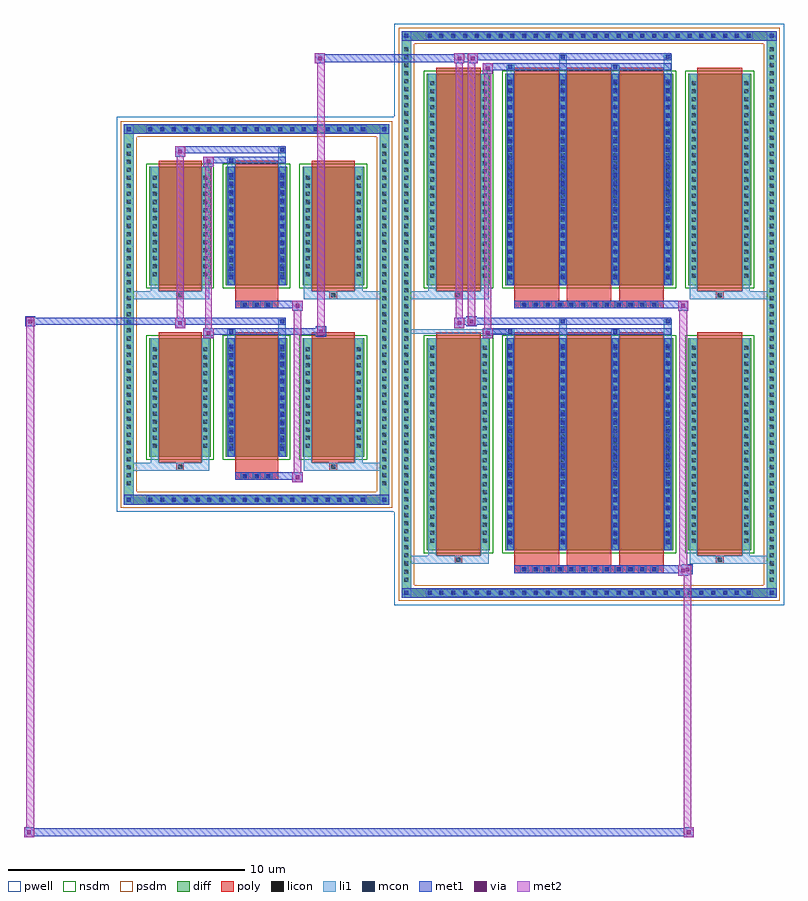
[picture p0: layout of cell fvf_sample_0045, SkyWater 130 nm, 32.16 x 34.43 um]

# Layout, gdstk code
import gdstk
lib = gdstk.Library(unit=1e-6, precision=1e-09)
def R(c, l, rs):  # rectangles x0, y0, x1, y1
    for r in rs: c.add(gdstk.rectangle(r[:2], r[2:], *l))
def A(c, l, x, y, w, h, nx, ny, dx, dy):  # array of equal rectangles
    R(c, l, [(x+i*dx, y+j*dy, x+i*dx+w, y+j*dy+h) for i in range(nx) for j in range(ny)])
def P(c, l, *ps):  # polygons
    for p in ps: c.add(gdstk.Polygon(p, *l))
pwell = (64, 44)
diff = (65, 20)
poly = (66, 20)
licon = (66, 44)
li1 = (67, 20)
mcon = (67, 44)
met1 = (68, 20)
via = (68, 44)
met2 = (69, 20)
nsdm = (93, 44)
psdm = (94, 20)

fvf_sample_0045 = lib.new_cell('fvf_sample_0045')
R(fvf_sample_0045, pwell, [(5.823,-12.301,22.313,12.301), (-5.923,-8.358,5.923,8.358)])
A(fvf_sample_0045, diff, 7.113, -11.991, 0.41, 0.41, 28, 2, 0.5, 23.572)
A(fvf_sample_0045, diff, 6.133, -11.425, 0.41, 0.41, 1, 67, 0, 0.34)
A(fvf_sample_0045, diff, 21.593, -11.425, 0.41, 0.41, 1, 67, 0, 0.34)
A(fvf_sample_0045, diff, -4.705, -8.048, 0.41, 0.41, 19, 2, 0.5, 15.686)
A(fvf_sample_0045, diff, -5.613, -7.345, 0.41, 0.41, 1, 43, 0, 0.34)
A(fvf_sample_0045, diff, 5.203, -7.345, 0.41, 0.41, 1, 43, 0, 0.34)
A(fvf_sample_0045, diff, -4.543, -6.026, 2.602, 5.012, 3, 2, 3.242, 7.256)
R(fvf_sample_0045, diff, [(7.113,-11.991,21.023,-11.581), (6.133,-11.425,6.543,11.425), (21.593,-11.425,22.003,11.425), (7.203,-9.97,9.873,-1.014), (10.513,-9.97,17.623,-1.014), (18.263,-9.97,20.933,-1.014), (-4.705,-8.048,4.705,-7.638), (-5.613,-7.345,-5.203,7.345), (5.203,-7.345,5.613,7.345), (7.203,1.23,9.873,10.186), (10.513,1.23,17.623,10.186), (18.263,1.23,20.933,10.186), (-4.705,7.638,4.705,8.048), (7.113,11.581,21.023,11.991)])
P(fvf_sample_0045, diff, [(5.613,8.048),(-5.613,8.048),(-5.613,-7.638),(-5.203,-7.638),(-5.203,7.638),(5.203,7.638),(5.203,-7.638),(-5.203,-7.638),(-5.613,-7.638),(-5.613,-8.048),(5.613,-8.048)],
  [(22.003,11.991),(6.133,11.991),(6.133,-11.581),(6.543,-11.581),(6.543,11.581),(21.593,11.581),(21.593,-11.581),(6.543,-11.581),(6.133,-11.581),(6.133,-11.991),(22.003,-11.991)])
A(fvf_sample_0045, poly, 11.153, -10.95, 0.33, 0.33, 12, 2, 0.5, 11.2)
A(fvf_sample_0045, poly, 10.903, -10.62, 1.89, 0.4, 3, 2, 2.22, 11.2)
A(fvf_sample_0045, poly, 10.903, -10.22, 1.89, 9.456, 3, 2, 2.22, 11.2)
A(fvf_sample_0045, poly, -0.665, -7.006, 0.33, 0.33, 3, 2, 0.5, 7.256)
A(fvf_sample_0045, poly, -4.153, -6.276, 1.822, 5.512, 3, 2, 3.242, 7.256)
R(fvf_sample_0045, poly, [(10.903,-10.95,17.233,-10.62), (8.373,-10.55,8.703,-10.22), (8.373,-10.55,8.703,-10.22), (19.433,-10.55,19.763,-10.22), (19.433,-10.55,19.763,-10.22), (7.593,-10.22,9.483,-0.764), (18.653,-10.22,20.543,-0.764), (-0.911,-7.006,0.911,-6.676), (-0.911,-6.676,0.911,-6.276), (-3.407,-6.606,-3.077,-6.276), (-3.407,-6.606,-3.077,-6.276), (3.077,-6.606,3.407,-6.276), (3.077,-6.606,3.407,-6.276), (-0.911,0.25,0.911,0.58), (10.903,0.25,17.233,0.58), (-0.911,0.58,0.911,0.98), (-3.407,0.65,-3.077,0.98), (-3.407,0.65,-3.077,0.98), (3.077,0.65,3.407,0.98), (3.077,0.65,3.407,0.98), (8.373,0.65,8.703,0.98), (8.373,0.65,8.703,0.98), (19.433,0.65,19.763,0.98), (19.433,0.65,19.763,0.98), (7.593,0.98,9.483,10.436), (18.653,0.98,20.543,10.436)])
A(fvf_sample_0045, licon, 7.233, -11.871, 0.17, 0.17, 28, 2, 0.5, 23.572)
A(fvf_sample_0045, licon, 6.253, -11.305, 0.17, 0.17, 1, 67, 0, 0.34)
A(fvf_sample_0045, licon, 21.713, -11.305, 0.17, 0.17, 1, 67, 0, 0.34)
A(fvf_sample_0045, licon, 11.233, -10.87, 0.17, 0.17, 12, 2, 0.5, 11.2)
A(fvf_sample_0045, licon, 7.343, -9.657, 0.17, 0.17, 1, 25, 0, 0.34)
A(fvf_sample_0045, licon, 9.563, -9.657, 0.17, 0.17, 1, 25, 0, 0.34)
A(fvf_sample_0045, licon, 10.653, -9.657, 0.17, 0.17, 4, 25, 2.22, 0.34)
A(fvf_sample_0045, licon, 18.403, -9.657, 0.17, 0.17, 1, 25, 0, 0.34)
A(fvf_sample_0045, licon, 20.623, -9.657, 0.17, 0.17, 1, 25, 0, 0.34)
A(fvf_sample_0045, licon, -4.585, -7.928, 0.17, 0.17, 19, 2, 0.5, 15.686)
A(fvf_sample_0045, licon, -5.493, -7.225, 0.17, 0.17, 1, 43, 0, 0.34)
A(fvf_sample_0045, licon, 5.323, -7.225, 0.17, 0.17, 1, 43, 0, 0.34)
A(fvf_sample_0045, licon, -0.585, -6.926, 0.17, 0.17, 3, 2, 0.5, 7.256)
A(fvf_sample_0045, licon, -4.403, -5.645, 0.17, 0.17, 1, 13, 0, 0.34)
A(fvf_sample_0045, licon, -2.251, -5.645, 0.17, 0.17, 1, 13, 0, 0.34)
A(fvf_sample_0045, licon, -1.161, -5.645, 0.17, 0.17, 1, 13, 0, 0.34)
A(fvf_sample_0045, licon, 0.991, -5.645, 0.17, 0.17, 1, 13, 0, 0.34)
A(fvf_sample_0045, licon, 2.081, -5.645, 0.17, 0.17, 1, 13, 0, 0.34)
A(fvf_sample_0045, licon, 4.233, -5.645, 0.17, 0.17, 1, 13, 0, 0.34)
A(fvf_sample_0045, licon, 7.343, 1.543, 0.17, 0.17, 1, 25, 0, 0.34)
A(fvf_sample_0045, licon, 9.563, 1.543, 0.17, 0.17, 1, 25, 0, 0.34)
A(fvf_sample_0045, licon, 10.653, 1.543, 0.17, 0.17, 4, 25, 2.22, 0.34)
A(fvf_sample_0045, licon, 18.403, 1.543, 0.17, 0.17, 1, 25, 0, 0.34)
A(fvf_sample_0045, licon, 20.623, 1.543, 0.17, 0.17, 1, 25, 0, 0.34)
A(fvf_sample_0045, licon, -4.403, 1.611, 0.17, 0.17, 1, 13, 0, 0.34)
A(fvf_sample_0045, licon, -2.251, 1.611, 0.17, 0.17, 1, 13, 0, 0.34)
A(fvf_sample_0045, licon, -1.161, 1.611, 0.17, 0.17, 1, 13, 0, 0.34)
A(fvf_sample_0045, licon, 0.991, 1.611, 0.17, 0.17, 1, 13, 0, 0.34)
A(fvf_sample_0045, licon, 2.081, 1.611, 0.17, 0.17, 1, 13, 0, 0.34)
A(fvf_sample_0045, licon, 4.233, 1.611, 0.17, 0.17, 1, 13, 0, 0.34)
R(fvf_sample_0045, licon, [(8.453,-10.47,8.623,-10.3), (19.513,-10.47,19.683,-10.3), (-3.327,-6.526,-3.157,-6.356), (3.157,-6.526,3.327,-6.356), (-3.327,0.73,-3.157,0.9), (3.157,0.73,3.327,0.9), (8.453,0.73,8.623,0.9), (19.513,0.73,19.683,0.9)])
A(fvf_sample_0045, li1, 7.153, -11.951, 0.33, 0.33, 28, 2, 0.5, 23.572)
A(fvf_sample_0045, li1, 6.173, -11.385, 0.33, 0.33, 1, 67, 0, 0.34)
A(fvf_sample_0045, li1, 21.633, -11.385, 0.33, 0.33, 1, 67, 0, 0.34)
A(fvf_sample_0045, li1, 11.153, -10.95, 0.33, 0.33, 12, 2, 0.5, 11.2)
A(fvf_sample_0045, li1, 10.573, -9.97, 0.33, 8.956, 4, 2, 2.22, 11.2)
A(fvf_sample_0045, li1, 7.263, -9.737, 0.33, 0.33, 1, 25, 0, 0.34)
A(fvf_sample_0045, li1, 9.483, -9.737, 0.33, 0.33, 1, 25, 0, 0.34)
A(fvf_sample_0045, li1, 10.573, -9.737, 0.33, 0.33, 4, 25, 2.22, 0.34)
A(fvf_sample_0045, li1, 18.323, -9.737, 0.33, 0.33, 1, 25, 0, 0.34)
A(fvf_sample_0045, li1, 20.543, -9.737, 0.33, 0.33, 1, 25, 0, 0.34)
A(fvf_sample_0045, li1, 10.653, -9.717, 0.17, 0.17, 4, 24, 2.22, 0.36)
A(fvf_sample_0045, li1, 10.653, -9.717, 0.17, 8.45, 4, 2, 2.22, 11.2)
A(fvf_sample_0045, li1, -4.665, -8.008, 0.33, 0.33, 19, 2, 0.5, 15.686)
A(fvf_sample_0045, li1, -5.573, -7.305, 0.33, 0.33, 1, 43, 0, 0.34)
A(fvf_sample_0045, li1, 5.243, -7.305, 0.33, 0.33, 1, 43, 0, 0.34)
A(fvf_sample_0045, li1, -0.665, -7.006, 0.33, 0.33, 3, 2, 0.5, 7.256)
A(fvf_sample_0045, li1, -1.161, -5.765, 0.17, 0.17, 1, 13, 0, 0.36)
A(fvf_sample_0045, li1, 0.991, -5.765, 0.17, 0.17, 1, 13, 0, 0.36)
A(fvf_sample_0045, li1, -4.483, -5.725, 0.33, 0.33, 1, 13, 0, 0.34)
A(fvf_sample_0045, li1, -2.331, -5.725, 0.33, 0.33, 1, 13, 0, 0.34)
A(fvf_sample_0045, li1, -1.241, -5.725, 0.33, 0.33, 1, 13, 0, 0.34)
A(fvf_sample_0045, li1, 0.911, -5.725, 0.33, 0.33, 1, 13, 0, 0.34)
A(fvf_sample_0045, li1, 2.001, -5.725, 0.33, 0.33, 1, 13, 0, 0.34)
A(fvf_sample_0045, li1, 4.153, -5.725, 0.33, 0.33, 1, 13, 0, 0.34)
A(fvf_sample_0045, li1, 7.263, 1.463, 0.33, 0.33, 1, 25, 0, 0.34)
A(fvf_sample_0045, li1, 9.483, 1.463, 0.33, 0.33, 1, 25, 0, 0.34)
A(fvf_sample_0045, li1, 10.573, 1.463, 0.33, 0.33, 4, 25, 2.22, 0.34)
A(fvf_sample_0045, li1, 18.323, 1.463, 0.33, 0.33, 1, 25, 0, 0.34)
A(fvf_sample_0045, li1, 20.543, 1.463, 0.33, 0.33, 1, 25, 0, 0.34)
A(fvf_sample_0045, li1, 10.653, 1.483, 0.17, 0.17, 4, 24, 2.22, 0.36)
A(fvf_sample_0045, li1, -1.161, 1.491, 0.17, 0.17, 1, 13, 0, 0.36)
A(fvf_sample_0045, li1, 0.991, 1.491, 0.17, 0.17, 1, 13, 0, 0.36)
A(fvf_sample_0045, li1, -4.483, 1.531, 0.33, 0.33, 1, 13, 0, 0.34)
A(fvf_sample_0045, li1, -2.331, 1.531, 0.33, 0.33, 1, 13, 0, 0.34)
A(fvf_sample_0045, li1, -1.241, 1.531, 0.33, 0.33, 1, 13, 0, 0.34)
A(fvf_sample_0045, li1, 0.911, 1.531, 0.33, 0.33, 1, 13, 0, 0.34)
A(fvf_sample_0045, li1, 2.001, 1.531, 0.33, 0.33, 1, 13, 0, 0.34)
A(fvf_sample_0045, li1, 4.153, 1.531, 0.33, 0.33, 1, 13, 0, 0.34)
R(fvf_sample_0045, li1, [(6.133,-11.991,6.543,-11.581), (21.593,-11.991,22.003,-11.581), (7.153,-11.951,20.983,-11.621), (6.253,-11.871,6.423,-11.701), (6.253,-11.871,6.423,-11.701), (21.713,-11.871,21.883,-11.701), (21.713,-11.871,21.883,-11.701), (6.133,-11.581,6.543,11.581), (21.593,-11.581,22.003,11.581), (6.133,-10.55,8.373,-10.22), (7.263,-10.55,7.593,-9.97), (7.263,-10.55,8.373,-10.22), (8.373,-10.55,8.703,-10.22), (8.703,-10.55,9.813,-10.22), (9.483,-10.55,9.813,-9.97), (18.323,-10.55,18.653,-9.97), (18.323,-10.55,19.433,-10.22), (19.433,-10.55,19.763,-10.22), (19.433,-10.55,22.003,-10.22), (19.763,-10.55,20.873,-10.22), (20.543,-10.55,20.873,-9.97), (7.263,-9.97,7.593,-1.014), (9.483,-9.97,9.813,-1.014), (18.323,-9.97,18.653,-1.014), (20.543,-9.97,20.873,-1.014), (-5.613,-8.048,-5.203,-7.638), (5.203,-8.048,5.613,-7.638), (-4.665,-8.008,4.665,-7.678), (-5.493,-7.928,-5.323,-7.758), (-5.493,-7.928,-5.323,-7.758), (5.323,-7.928,5.493,-7.758), (5.323,-7.928,5.493,-7.758), (-5.613,-7.638,-5.203,7.638), (5.203,-7.638,5.613,7.638), (-5.613,-6.606,-3.407,-6.276), (-4.483,-6.606,-3.407,-6.276), (-4.483,-6.606,-4.153,-6.026), (-3.407,-6.606,-3.077,-6.276), (-3.077,-6.606,-2.001,-6.276), (-2.331,-6.606,-2.001,-6.026), (2.001,-6.606,3.077,-6.276), (2.001,-6.606,2.331,-6.026), (3.077,-6.606,3.407,-6.276), (3.077,-6.606,5.613,-6.276), (3.407,-6.606,4.483,-6.276), (4.153,-6.606,4.483,-6.026), (-4.483,-6.026,-4.153,-1.014), (-2.331,-6.026,-2.001,-1.014), (-1.241,-6.026,-0.911,-1.014), (0.911,-6.026,1.241,-1.014), (2.001,-6.026,2.331,-1.014), (4.153,-6.026,4.483,-1.014), (-1.161,-5.765,-0.991,-1.275), (0.991,-5.765,1.161,-1.275), (-1.241,-1.014,-0.911,-0.639), (0.911,-1.014,1.241,-0.209), (10.573,-1.014,10.903,-0.639), (12.793,-1.014,13.123,-0.209), (15.013,-1.014,15.343,-0.639), (17.233,-1.014,17.563,-0.209), (10.593,-0.869,10.883,-0.579), (6.133,-0.824,10.593,-0.624), (-1.161,-0.809,-0.991,-0.639), (10.653,-0.809,10.823,-0.639), (10.653,-0.809,10.823,-0.639), (15.093,-0.809,15.263,-0.639), (0.991,-0.379,1.161,-0.209), (12.873,-0.379,13.043,-0.209), (17.313,-0.379,17.483,-0.209), (-5.613,0.65,-3.407,0.98), (-4.483,0.65,-3.407,0.98), (-4.483,0.65,-4.153,1.23), (-3.407,0.65,-3.077,0.98), (-3.077,0.65,-2.001,0.98), (-2.331,0.65,-2.001,1.23), (2.001,0.65,3.077,0.98), (2.001,0.65,2.331,1.23), (3.077,0.65,3.407,0.98), (3.077,0.65,5.613,0.98), (3.407,0.65,4.483,0.98), (4.153,0.65,4.483,1.23), (6.133,0.65,8.373,0.98), (7.263,0.65,7.593,1.23), (7.263,0.65,8.373,0.98), (8.373,0.65,8.703,0.98), (8.703,0.65,9.813,0.98), (9.483,0.65,9.813,1.23), (18.323,0.65,18.653,1.23), (18.323,0.65,19.433,0.98), (19.433,0.65,19.763,0.98), (19.433,0.65,22.003,0.98), (19.763,0.65,20.873,0.98), (20.543,0.65,20.873,1.23), (-4.483,1.23,-4.153,6.242), (-2.331,1.23,-2.001,6.242), (-1.241,1.23,-0.911,6.242), (0.911,1.23,1.241,6.242), (2.001,1.23,2.331,6.242), (4.153,1.23,4.483,6.242), (7.263,1.23,7.593,10.186), (9.483,1.23,9.813,10.186), (18.323,1.23,18.653,10.186), (20.543,1.23,20.873,10.186), (-1.161,1.491,-0.991,5.981), (0.991,1.491,1.161,5.981), (-1.241,6.242,-0.911,6.617), (0.911,6.242,1.241,7.047), (-1.161,6.447,-0.991,6.617), (0.991,6.877,1.161,7.047), (-5.613,7.638,-5.203,8.048), (5.203,7.638,5.613,8.048), (-4.665,7.678,4.665,8.008), (-5.493,7.758,-5.323,7.928), (-5.493,7.758,-5.323,7.928), (5.323,7.758,5.493,7.928), (5.323,7.758,5.493,7.928), (10.573,10.186,10.903,10.561), (12.793,10.186,13.123,10.991), (15.013,10.186,15.343,10.561), (17.233,10.186,17.563,10.991), (10.653,10.391,10.823,10.561), (15.093,10.391,15.263,10.561), (12.873,10.821,13.043,10.991), (17.313,10.821,17.483,10.991), (6.133,11.581,6.543,11.991), (21.593,11.581,22.003,11.991), (7.153,11.621,20.983,11.951), (6.253,11.701,6.423,11.871), (6.253,11.701,6.423,11.871), (21.713,11.701,21.883,11.871), (21.713,11.701,21.883,11.871)])
A(fvf_sample_0045, mcon, 7.233, -11.871, 0.17, 0.17, 28, 2, 0.5, 23.572)
A(fvf_sample_0045, mcon, 11.233, -10.87, 0.17, 0.17, 12, 2, 0.5, 11.2)
A(fvf_sample_0045, mcon, 10.653, -9.717, 0.17, 0.17, 4, 24, 2.22, 0.36)
A(fvf_sample_0045, mcon, -4.585, -7.928, 0.17, 0.17, 19, 2, 0.5, 15.686)
A(fvf_sample_0045, mcon, -0.585, -6.926, 0.17, 0.17, 3, 2, 0.5, 7.256)
A(fvf_sample_0045, mcon, -1.161, -5.765, 0.17, 0.17, 1, 13, 0, 0.36)
A(fvf_sample_0045, mcon, 0.991, -5.765, 0.17, 0.17, 1, 13, 0, 0.36)
A(fvf_sample_0045, mcon, 10.653, 1.483, 0.17, 0.17, 4, 24, 2.22, 0.36)
A(fvf_sample_0045, mcon, -1.161, 1.491, 0.17, 0.17, 1, 13, 0, 0.36)
A(fvf_sample_0045, mcon, 0.991, 1.491, 0.17, 0.17, 1, 13, 0, 0.36)
R(fvf_sample_0045, mcon, [(6.253,-11.871,6.423,-11.701), (21.713,-11.871,21.883,-11.701), (-5.493,-7.928,-5.323,-7.758), (5.323,-7.928,5.493,-7.758), (-1.161,-0.809,-0.991,-0.639), (10.653,-0.809,10.823,-0.639), (10.653,-0.809,10.823,-0.639), (15.093,-0.809,15.263,-0.639), (0.991,-0.379,1.161,-0.209), (12.873,-0.379,13.043,-0.209), (17.313,-0.379,17.483,-0.209), (-1.161,6.447,-0.991,6.617), (0.991,6.877,1.161,7.047), (-5.493,7.758,-5.323,7.928), (5.323,7.758,5.493,7.928), (10.653,10.391,10.823,10.561), (15.093,10.391,15.263,10.561), (12.873,10.821,13.043,10.991), (17.313,10.821,17.483,10.991), (6.253,11.701,6.423,11.871), (21.713,11.701,21.883,11.871)])
A(fvf_sample_0045, met1, 7.173, -11.931, 0.29, 0.29, 28, 2, 0.5, 23.572)
A(fvf_sample_0045, met1, 11.173, -10.93, 0.29, 0.29, 12, 2, 0.5, 11.2)
A(fvf_sample_0045, met1, 10.593, -9.97, 0.29, 8.956, 4, 2, 2.22, 11.2)
A(fvf_sample_0045, met1, 10.593, -9.777, 0.29, 0.29, 4, 24, 2.22, 0.36)
A(fvf_sample_0045, met1, -4.645, -7.988, 0.29, 0.29, 19, 2, 0.5, 15.686)
A(fvf_sample_0045, met1, -0.645, -6.986, 0.29, 0.29, 3, 2, 0.5, 7.256)
A(fvf_sample_0045, met1, -1.221, -5.825, 0.29, 0.29, 1, 13, 0, 0.36)
A(fvf_sample_0045, met1, 0.931, -5.825, 0.29, 0.29, 1, 13, 0, 0.36)
A(fvf_sample_0045, met1, 10.593, 1.423, 0.29, 0.29, 4, 24, 2.22, 0.36)
A(fvf_sample_0045, met1, -1.221, 1.431, 0.29, 0.29, 1, 13, 0, 0.36)
A(fvf_sample_0045, met1, 0.931, 1.431, 0.29, 0.29, 1, 13, 0, 0.36)
R(fvf_sample_0045, met1, [(-9.844,-22.126,-9.414,-21.696), (18.068,-22.126,18.498,-21.696), (-9.844,-22.076,18.498,-21.746), (-9.844,-21.746,-9.414,-21.696), (18.068,-21.746,18.498,-21.696), (6.133,-11.991,6.543,-11.581), (6.133,-11.991,6.543,-11.581), (6.543,-11.991,21.593,-11.581), (21.593,-11.991,22.003,-11.581), (21.593,-11.991,22.003,-11.581), (6.193,-11.931,6.483,-11.641), (21.653,-11.931,21.943,-11.641), (17.833,-11.05,18.263,-10.62), (18.018,-11,18.448,-10.57), (10.903,-10.95,17.233,-10.62), (17.233,-10.95,18.263,-10.62), (17.233,-10.95,18.018,-10.62), (-5.613,-8.048,-5.203,-7.638), (-5.613,-8.048,-5.203,-7.638), (-5.203,-8.048,5.203,-7.638), (5.203,-8.048,5.613,-7.638), (5.203,-8.048,5.613,-7.638), (-5.553,-7.988,-5.263,-7.698), (5.263,-7.988,5.553,-7.698), (1.511,-7.106,1.941,-6.676), (-0.911,-7.006,0.911,-6.676), (0.911,-7.006,1.941,-6.676), (-1.221,-6.026,-0.931,-1.014), (0.931,-6.026,1.221,-1.014), (-2.251,-1.009,-1.821,-0.579), (9.563,-1.009,9.993,-0.579), (2.506,-0.939,2.936,-0.509), (-2.251,-0.869,-1.221,-0.579), (-1.221,-0.869,-0.931,-0.579), (-1.221,-0.869,1.221,-0.579), (1.221,-0.869,2.506,-0.579), (9.563,-0.869,10.593,-0.579), (10.593,-0.869,10.883,-0.579), (10.593,-0.869,10.883,-0.579), (10.593,-0.869,17.543,-0.579), (15.033,-0.869,15.323,-0.579), (-3.451,-0.579,-3.021,-0.149), (8.363,-0.579,8.793,-0.149), (-9.794,-0.509,-9.364,-0.079), (8.878,-0.509,9.308,-0.079), (-9.364,-0.439,-1.221,-0.149), (-3.451,-0.439,-1.221,-0.149), (-1.221,-0.439,1.221,-0.149), (0.931,-0.439,1.221,-0.149), (8.363,-0.439,10.593,-0.149), (9.308,-0.439,10.593,-0.149), (10.593,-0.439,17.543,-0.149), (12.813,-0.439,13.103,-0.149), (17.253,-0.439,17.543,-0.149), (1.511,0.15,1.941,0.58), (17.833,0.15,18.263,0.58), (-0.911,0.25,0.911,0.58), (0.911,0.25,1.941,0.58), (10.903,0.25,17.233,0.58), (17.233,0.25,18.263,0.58), (-1.221,1.23,-0.931,6.242), (0.931,1.23,1.221,6.242), (-2.251,6.247,-1.821,6.677), (-2.251,6.387,-1.221,6.677), (-1.221,6.387,-0.931,6.677), (-1.221,6.387,1.221,6.677), (-3.451,6.677,-3.021,7.107), (-3.451,6.817,-1.221,7.107), (-1.221,6.817,1.221,7.107), (0.931,6.817,1.221,7.107), (-5.613,7.638,-5.203,8.048), (-5.613,7.638,-5.203,8.048), (-5.203,7.638,5.203,8.048), (5.203,7.638,5.613,8.048), (5.203,7.638,5.613,8.048), (-5.553,7.698,-5.263,7.988), (5.263,7.698,5.553,7.988), (9.563,10.191,9.993,10.621), (9.563,10.331,10.593,10.621), (10.593,10.331,10.883,10.621), (10.593,10.331,17.543,10.621), (15.033,10.331,15.323,10.621), (2.456,10.617,2.886,11.047), (8.928,10.617,9.358,11.047), (8.363,10.621,8.793,11.051), (2.456,10.667,9.358,10.997), (8.363,10.761,10.593,11.051), (10.593,10.761,17.543,11.051), (12.813,10.761,13.103,11.051), (17.253,10.761,17.543,11.051), (2.456,10.997,2.886,11.047), (8.928,10.997,9.358,11.047), (6.133,11.581,6.543,11.991), (6.133,11.581,6.543,11.991), (6.543,11.581,21.593,11.991), (21.593,11.581,22.003,11.991), (21.593,11.581,22.003,11.991), (6.193,11.641,6.483,11.931), (21.653,11.641,21.943,11.931)])
R(fvf_sample_0045, via, [(-9.704,-21.986,-9.554,-21.836), (18.208,-21.986,18.358,-21.836), (17.973,-10.91,18.123,-10.76), (18.158,-10.86,18.308,-10.71), (1.651,-6.966,1.801,-6.816), (-2.111,-0.869,-1.961,-0.719), (9.703,-0.869,9.853,-0.719), (2.646,-0.799,2.796,-0.649), (-3.311,-0.439,-3.161,-0.289), (8.503,-0.439,8.653,-0.289), (-9.654,-0.369,-9.504,-0.219), (9.018,-0.369,9.168,-0.219), (1.651,0.29,1.801,0.44), (17.973,0.29,18.123,0.44), (-2.111,6.387,-1.961,6.537), (-3.311,6.817,-3.161,6.967), (9.703,10.331,9.853,10.481), (2.596,10.757,2.746,10.907), (9.068,10.757,9.218,10.907), (8.503,10.761,8.653,10.911)])
R(fvf_sample_0045, met2, [(-9.844,-22.126,-9.414,-21.696), (-9.744,-22.126,-9.414,-0.459), (18.068,-22.126,18.498,-21.696), (18.068,-22.126,18.398,-10.95), (-9.794,-22.076,-9.464,-21.746), (18.118,-22.076,18.448,-21.746), (17.833,-11.05,18.263,-10.62), (17.883,-11.05,18.213,0.58), (18.213,-11.05,18.263,-10.62), (17.883,-11,18.213,-10.67), (18.068,-10.95,18.398,-10.62), (1.511,-7.106,1.941,-6.676), (1.561,-7.106,1.891,0.58), (1.891,-7.106,1.941,-6.676), (1.561,-7.056,1.891,-6.726), (-2.251,-1.009,-1.821,-0.579), (-2.181,-1.009,-1.891,6.677), (-1.891,-1.009,-1.821,-0.579), (9.563,-1.009,9.993,-0.579), (9.633,-1.009,9.923,10.621), (9.923,-1.009,9.993,-0.579), (-2.201,-0.959,-1.871,-0.629), (9.613,-0.959,9.943,-0.629), (2.556,-0.889,2.886,-0.559), (-3.451,-0.579,-3.021,-0.149), (-3.381,-0.579,-3.091,7.107), (-3.091,-0.579,-3.021,-0.149), (8.363,-0.579,8.793,-0.149), (8.433,-0.579,8.723,11.051), (8.723,-0.579,8.793,-0.149), (2.556,-0.559,2.886,11.047), (-3.401,-0.529,-3.071,-0.199), (8.413,-0.529,8.743,-0.199), (-9.744,-0.459,-9.414,-0.129), (8.928,-0.459,9.258,-0.129), (8.928,-0.129,9.258,11.047), (1.511,0.15,1.941,0.58), (1.891,0.15,1.941,0.58), (17.833,0.15,18.263,0.58), (18.213,0.15,18.263,0.58), (1.561,0.2,1.891,0.53), (17.883,0.2,18.213,0.53), (-2.251,6.247,-1.821,6.677), (-1.891,6.247,-1.821,6.677), (-2.201,6.297,-1.871,6.627), (-3.451,6.677,-3.021,7.107), (-3.091,6.677,-3.021,7.107), (-3.401,6.727,-3.071,7.057), (9.563,10.191,9.993,10.621), (9.923,10.191,9.993,10.621), (9.613,10.241,9.943,10.571), (2.456,10.617,2.886,11.047), (8.928,10.617,9.358,11.047), (8.363,10.621,8.793,11.051), (8.723,10.621,8.793,11.051), (2.506,10.667,2.836,10.997), (8.978,10.667,9.308,10.997), (8.413,10.671,8.743,11.001)])
A(fvf_sample_0045, nsdm, -4.673, -6.156, 2.862, 5.272, 3, 2, 3.242, 7.256)
R(fvf_sample_0045, nsdm, [(7.073,-10.1,10.003,-0.884), (10.383,-10.1,17.753,-0.884), (18.133,-10.1,21.063,-0.884), (7.073,1.1,10.003,10.316), (10.383,1.1,17.753,10.316), (18.133,1.1,21.063,10.316)])
P(fvf_sample_0045, psdm, [(5.743,8.178),(-5.743,8.178),(-5.743,-7.508),(-5.073,-7.508),(-5.073,7.508),(5.073,7.508),(5.073,-7.508),(-5.073,-7.508),(-5.743,-7.508),(-5.743,-8.178),(5.743,-8.178)],
  [(22.133,12.121),(6.003,12.121),(6.003,-11.451),(6.673,-11.451),(6.673,11.451),(21.463,11.451),(21.463,-11.451),(6.673,-11.451),(6.003,-11.451),(6.003,-12.121),(22.133,-12.121)])

lib.write_gds('fvf_sample_0045.gds')
